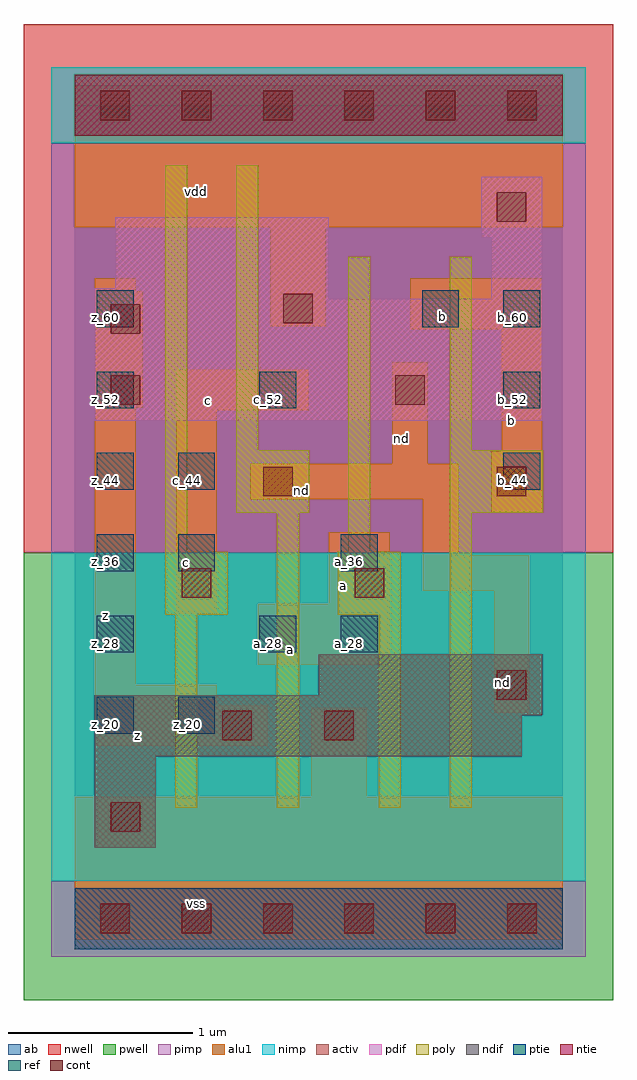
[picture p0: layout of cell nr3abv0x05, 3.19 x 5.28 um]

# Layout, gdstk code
import gdstk
lib = gdstk.Library(unit=1e-6, precision=2.5e-09)
def R(c, l, rs):  # rectangles x0, y0, x1, y1
    for r in rs: c.add(gdstk.rectangle(r[:2], r[2:], *l))
def A(c, l, x, y, w, h, nx, ny, dx, dy):  # array of equal rectangles
    R(c, l, [(x+i*dx, y+j*dy, x+i*dx+w, y+j*dy+h) for i in range(nx) for j in range(ny)])
ndif = (3, 0)
pdif = (4, 0)
ntie = (5, 0)
ptie = (6, 0)
ref = (24, 0)
cont = (25, 0)
pwell = (41, 0)
nwell = (42, 0)
activ = (43, 0)
pimp = (44, 0)
nimp = (45, 0)
poly = (46, 0)
alu1 = (49, 0)
ab = (63, 0)

nr3abv0x05 = lib.new_cell('nr3abv0x05')
R(nr3abv0x05, ndif, [(0.11,0.385,0.44,0.88), (0.11,0.88,2.42,1.1), (0.11,1.1,2.53,1.21), (1.32,1.21,2.53,1.43)])
R(nr3abv0x05, pdif, [(0.11,2.695,2.53,3.355), (0.11,3.355,1.375,3.41), (2.255,3.355,2.53,3.685), (0.22,3.41,1.375,3.795), (2.2,3.685,2.53,4.015)])
R(nr3abv0x05, ntie, [(0,4.235,2.64,4.565)])
R(nr3abv0x05, ptie, [(0,-0.165,2.64,0.165)])
A(nr3abv0x05, ref, 0.12, 1, 0.2, 0.2, 1, 6, 0, 0.44)
A(nr3abv0x05, ref, 2.32, 2.32, 0.2, 0.2, 1, 3, 0, 0.44)
R(nr3abv0x05, ref, [(0.56,1,0.76,1.2), (1,1.44,1.2,1.64), (1.44,1.44,1.64,1.64), (0.56,1.88,0.76,2.08), (1.44,1.88,1.64,2.08), (0.56,2.32,0.76,2.52), (1,2.76,1.2,2.96), (1.88,3.2,2.08,3.4)])
A(nr3abv0x05, cont, 0.14, -0.08, 0.16, 0.16, 6, 2, 0.44, 4.4)
R(nr3abv0x05, cont, [(0.195,0.47,0.355,0.63), (0.8,0.965,0.96,1.125), (1.35,0.965,1.51,1.125), (2.285,1.185,2.445,1.345), (0.58,1.735,0.74,1.895), (1.515,1.735,1.675,1.895), (1.02,2.285,1.18,2.445), (2.285,2.285,2.445,2.445), (0.195,2.78,0.355,2.94), (1.735,2.78,1.895,2.94), (0.195,3.165,0.355,3.325), (1.13,3.22,1.29,3.38), (2.285,3.77,2.445,3.93)])
R(nr3abv0x05, pwell, [(-0.275,-0.44,2.915,1.98)])
R(nr3abv0x05, nwell, [(-0.275,1.98,2.915,4.84)])
R(nr3abv0x05, activ, [(0,-0.165,2.64,0.165), (0.11,0.385,0.44,0.88), (0.11,0.88,2.42,1.1), (0.11,1.1,2.53,1.21), (1.32,1.21,2.53,1.43), (0.11,2.695,2.53,3.355), (0.11,3.355,1.375,3.41), (2.255,3.355,2.53,3.685), (0.22,3.41,1.375,3.795), (2.2,3.685,2.53,4.015), (0,4.235,2.64,4.565)])
R(nr3abv0x05, pimp, [(-0.125,-0.205,2.765,0.205), (-0.125,1.98,2.765,4.195)])
R(nr3abv0x05, nimp, [(-0.125,0.205,2.765,1.98), (-0.125,4.195,2.765,4.605)])
R(nr3abv0x05, poly, [(0.545,0.6,0.665,1.645), (1.095,0.6,1.215,2.195), (1.645,0.6,1.765,1.645), (2.03,0.6,2.15,2.195), (0.49,1.645,0.83,1.985), (1.425,1.645,1.765,1.985), (0.49,1.985,0.61,4.075), (1.48,1.985,1.6,3.58), (0.875,2.195,1.27,2.535), (2.03,2.195,2.535,2.535), (0.875,2.535,0.995,4.075), (2.03,2.535,2.15,3.58)])
R(nr3abv0x05, alu1, [(0,-0.11,2.64,0.66), (1.28,0.66,1.58,1.14), (0.11,0.935,1.045,1.155), (2.27,1.115,2.46,1.775), (0.11,1.155,0.77,1.265), (0.11,1.265,0.33,2.765), (0.99,1.375,1.705,1.705), (0.55,1.65,0.77,2.75), (1.375,1.705,1.705,2.09), (1.885,1.775,2.46,1.965), (1.885,1.965,2.075,2.27), (2.255,2.2,2.53,2.53), (0.95,2.27,2.075,2.46), (1.72,2.46,1.91,3.01), (2.31,2.53,2.53,3.19), (0.55,2.75,1.265,2.97), (0.11,2.765,0.37,3.395), (1.815,3.19,2.53,3.465), (1.06,3.205,1.36,3.74), (0.11,3.395,0.33,3.465), (0,3.74,2.64,4.51)])
R(nr3abv0x05, ab, [(0,0,2.64,4.4)])
nr3abv0x05.add(gdstk.Label('vss', (0.66,0.0825), layer=49, texttype=0))
nr3abv0x05.add(gdstk.Label('nd', (2.3175,1.28), layer=49, texttype=0))
nr3abv0x05.add(gdstk.Label('z', (0.3425,0.99), layer=49, texttype=0))
nr3abv0x05.add(gdstk.Label('a', (1.1675,1.4575), layer=49, texttype=0))
nr3abv0x05.add(gdstk.Label('a', (1.4575,1.8), layer=49, texttype=0))
nr3abv0x05.add(gdstk.Label('nd', (1.23,2.3175), layer=49, texttype=0))
nr3abv0x05.add(gdstk.Label('b', (2.365,2.695), layer=49, texttype=0))
nr3abv0x05.add(gdstk.Label('nd', (1.7675,2.5975), layer=49, texttype=0))
nr3abv0x05.add(gdstk.Label('c', (0.605,1.925), layer=49, texttype=0))
nr3abv0x05.add(gdstk.Label('c', (0.7275,2.805), layer=49, texttype=0))
nr3abv0x05.add(gdstk.Label('z', (0.165,1.64), layer=49, texttype=0))
nr3abv0x05.add(gdstk.Label('b', (1.9925,3.2575), layer=49, texttype=0))
nr3abv0x05.add(gdstk.Label('vdd', (0.66,3.9325), layer=49, texttype=0))
nr3abv0x05.add(gdstk.Label('b_60', (1.93,3.25), layer=24, texttype=0))
nr3abv0x05.add(gdstk.Label('b_60', (2.37,3.25), layer=24, texttype=0))
nr3abv0x05.add(gdstk.Label('b_52', (2.37,2.81), layer=24, texttype=0))
nr3abv0x05.add(gdstk.Label('b_44', (2.37,2.37), layer=24, texttype=0))
nr3abv0x05.add(gdstk.Label('a_28', (1.49,1.49), layer=24, texttype=0))
nr3abv0x05.add(gdstk.Label('a_36', (1.49,1.93), layer=24, texttype=0))
nr3abv0x05.add(gdstk.Label('z_52', (0.17,2.81), layer=24, texttype=0))
nr3abv0x05.add(gdstk.Label('z_44', (0.17,2.37), layer=24, texttype=0))
nr3abv0x05.add(gdstk.Label('z_36', (0.17,1.93), layer=24, texttype=0))
nr3abv0x05.add(gdstk.Label('z_28', (0.17,1.49), layer=24, texttype=0))
nr3abv0x05.add(gdstk.Label('c_44', (0.61,2.37), layer=24, texttype=0))
nr3abv0x05.add(gdstk.Label('c_36', (0.61,1.93), layer=24, texttype=0))
nr3abv0x05.add(gdstk.Label('z_20', (0.61,1.05), layer=24, texttype=0))
nr3abv0x05.add(gdstk.Label('z_60', (0.17,3.25), layer=24, texttype=0))
nr3abv0x05.add(gdstk.Label('z_20', (0.17,1.05), layer=24, texttype=0))
nr3abv0x05.add(gdstk.Label('c_52', (1.05,2.81), layer=24, texttype=0))
nr3abv0x05.add(gdstk.Label('a_28', (1.05,1.49), layer=24, texttype=0))

lib.write_gds('nr3abv0x05.gds')
